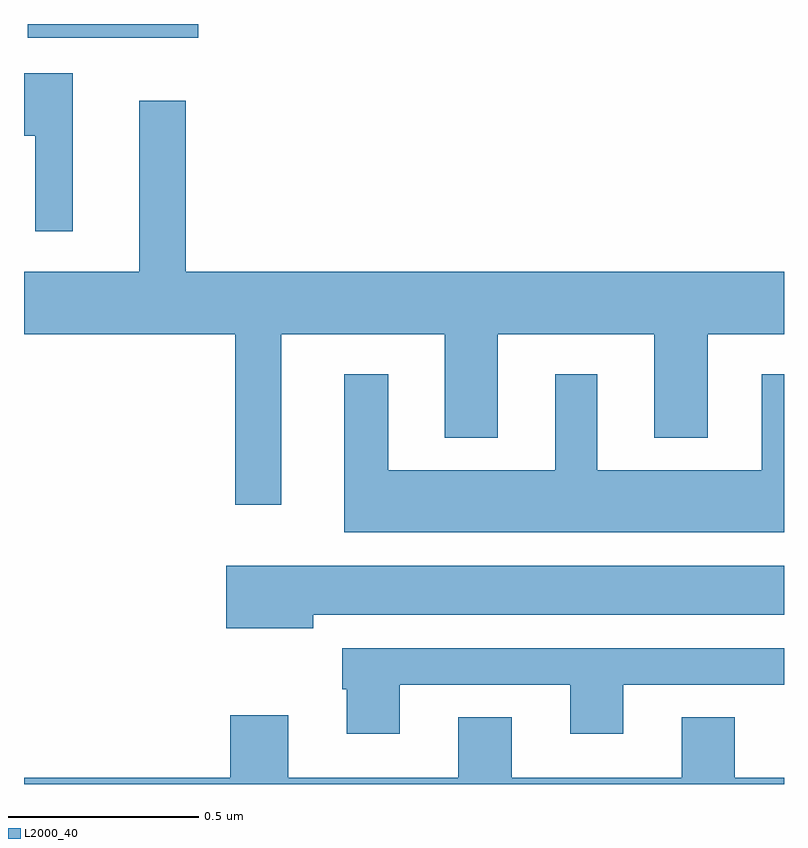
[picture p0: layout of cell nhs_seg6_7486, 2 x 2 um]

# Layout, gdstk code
import gdstk
lib = gdstk.Library(unit=1e-6, precision=1e-09)
def R(c, l, rs):  # rectangles x0, y0, x1, y1
    for r in rs: c.add(gdstk.rectangle(r[:2], r[2:], *l))
def P(c, l, *ps):  # polygons
    for p in ps: c.add(gdstk.Polygon(p, *l))
L2000_40 = (2000, 40)

nhs_seg6_7486 = lib.new_cell('nhs_seg6_7486')
R(nhs_seg6_7486, L2000_40, [(209.01,933.464,209.459,933.5)])
P(nhs_seg6_7486, L2000_40, [(209.128,933.37),(209,933.37),(209,933.206),(209.03,933.206),(209.03,932.955),(209.128,932.955)],
  [(209.677,932.684),(210.107,932.684),(210.107,932.411),(210.247,932.411),(210.247,932.684),(210.659,932.684),(210.659,932.411),(210.799,932.411),(210.799,932.684),(211,932.684),(211,932.848),(209.425,932.848),(209.425,933.298),(209.303,933.298),(209.303,932.848),(209,932.848),(209,932.684),(209.556,932.684),(209.556,932.235),(209.677,932.235)],
  [(211,932.578),(210.941,932.578),(210.941,932.326),(210.508,932.326),(210.508,932.578),(210.398,932.578),(210.398,932.326),(209.959,932.326),(209.959,932.578),(209.843,932.578),(209.843,932.162),(211,932.162)],
  [(209.761,931.946),(211,931.946),(211,932.074),(209.532,932.074),(209.532,931.91),(209.761,931.91)],
  [(209.989,931.761),(210.437,931.761),(210.437,931.632),(210.577,931.632),(210.577,931.761),(211,931.761),(211,931.857),(209.837,931.857),(209.837,931.749),(209.849,931.749),(209.849,931.632),(209.989,931.632)],
  [(211,931.516),(210.871,931.516),(210.871,931.676),(210.731,931.676),(210.731,931.516),(210.283,931.516),(210.283,931.676),(210.143,931.676),(210.143,931.516),(209.695,931.516),(209.695,931.681),(209.543,931.681),(209.543,931.516),(209,931.516),(209,931.5),(211,931.5)])

lib.write_gds('nhs_seg6_7486.gds')
